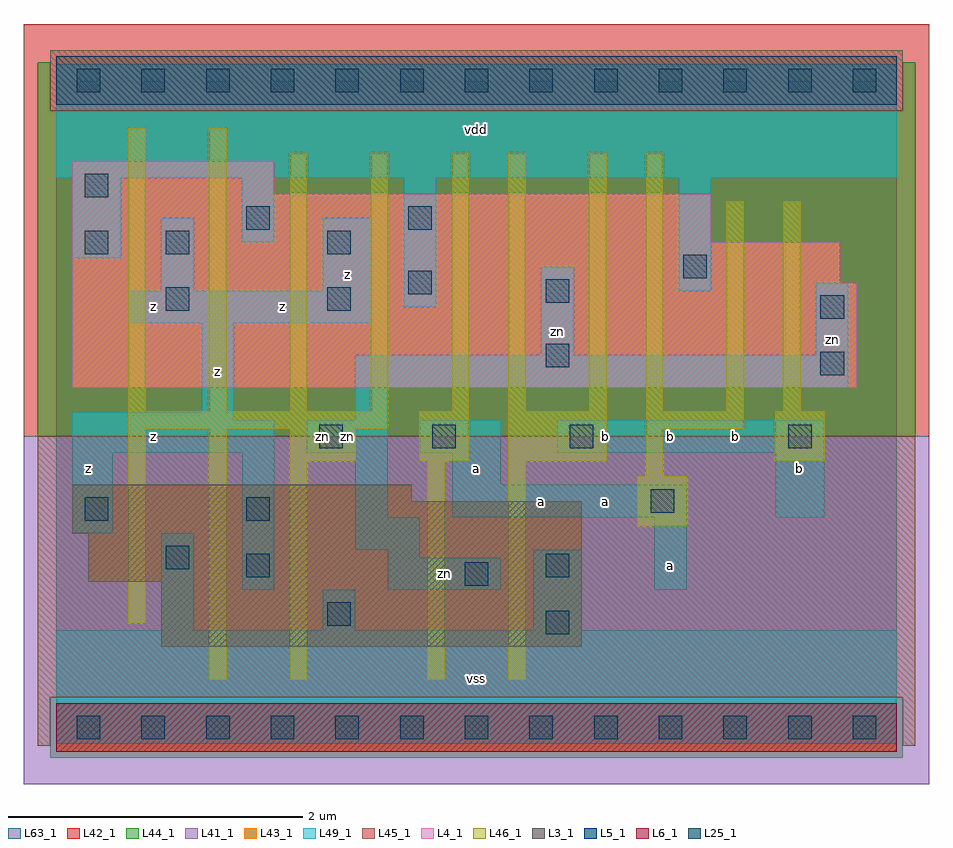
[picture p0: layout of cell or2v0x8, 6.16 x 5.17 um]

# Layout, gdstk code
import gdstk
lib = gdstk.Library(unit=1e-6, precision=1e-09)
def R(c, l, rs):  # rectangles x0, y0, x1, y1
    for r in rs: c.add(gdstk.rectangle(r[:2], r[2:], *l))
def A(c, l, x, y, w, h, nx, ny, dx, dy):  # array of equal rectangles
    R(c, l, [(x+i*dx, y+j*dy, x+i*dx+w, y+j*dy+h) for i in range(nx) for j in range(ny)])
L3_1 = (3, 1)
L4_1 = (4, 1)
L5_1 = (5, 1)
L6_1 = (6, 1)
L25_1 = (25, 1)
L41_1 = (41, 1)
L42_1 = (42, 1)
L43_1 = (43, 1)
L44_1 = (44, 1)
L45_1 = (45, 1)
L46_1 = (46, 1)
L49_1 = (49, 1)
L63_1 = (63, 1)

or2v0x8 = lib.new_cell('or2v0x8')
R(or2v0x8, L3_1, [(0.715,0.55,3.575,0.99), (0.22,0.99,3.575,1.32), (0.11,1.32,3.575,1.54), (0.11,1.54,2.42,1.65)])
R(or2v0x8, L4_1, [(0.11,2.31,5.445,3.025), (0.11,3.025,5.335,3.3), (0.11,3.3,4.455,3.63), (0.11,3.63,1.485,3.85)])
R(or2v0x8, L5_1, [(0,4.235,5.72,4.565)])
R(or2v0x8, L6_1, [(0,-0.165,5.72,0.165)])
A(or2v0x8, L25_1, 0.14, -0.08, 0.16, 0.16, 13, 2, 0.44, 4.4)
R(or2v0x8, L25_1, [(3.33,0.635,3.49,0.795), (1.845,0.69,2.005,0.85), (2.78,0.965,2.94,1.125), (1.295,1.02,1.455,1.18), (3.33,1.02,3.49,1.18), (0.745,1.075,0.905,1.235), (0.195,1.405,0.355,1.565), (1.295,1.405,1.455,1.565), (4.045,1.46,4.205,1.62), (1.79,1.9,1.95,2.06), (2.56,1.9,2.72,2.06), (3.495,1.9,3.655,2.06), (4.98,1.9,5.14,2.06), (5.2,2.395,5.36,2.555), (3.33,2.45,3.49,2.61), (5.2,2.78,5.36,2.94), (0.745,2.835,0.905,2.995), (1.845,2.835,2.005,2.995), (3.33,2.89,3.49,3.05), (2.395,2.945,2.555,3.105), (4.265,3.055,4.425,3.215), (0.195,3.22,0.355,3.38), (0.745,3.22,0.905,3.38), (1.845,3.22,2.005,3.38), (1.295,3.385,1.455,3.545), (2.395,3.385,2.555,3.545), (0.195,3.605,0.355,3.765)])
R(or2v0x8, L41_1, [(-0.22,-0.385,5.94,1.98)])
R(or2v0x8, L42_1, [(-0.22,1.98,5.94,4.785)])
R(or2v0x8, L43_1, [(0,-0.165,5.72,0.165), (0.715,0.55,3.575,0.99), (0.22,0.99,3.575,1.32), (0.11,1.32,3.575,1.54), (0.11,1.54,2.42,1.65), (0.11,2.31,5.445,3.025), (0.11,3.025,5.335,3.3), (0.11,3.3,4.455,3.63), (0.11,3.63,1.485,3.85), (0,4.235,5.72,4.565)])
R(or2v0x8, L44_1, [(-0.04,-0.205,5.76,0.205), (-0.125,1.98,5.845,4.195), (-0.125,4.195,-0.04,4.525), (5.76,4.195,5.845,4.525)])
R(or2v0x8, L45_1, [(-0.125,-0.125,-0.04,0.205), (5.76,-0.125,5.845,0.205), (-0.125,0.205,5.845,1.98), (-0.04,4.195,5.76,4.605)])
A(or2v0x8, L46_1, 1.59, 2.15, 0.12, 1.76, 3, 1, 0.55, 0)
R(or2v0x8, L46_1, [(1.04,0.325,1.16,2.03), (1.59,0.325,1.71,1.81), (2.525,0.325,2.645,1.81), (3.075,0.325,3.195,1.81), (0.49,0.71,0.61,2.03), (3.955,1.37,4.295,1.71), (4.01,1.71,4.13,2.03), (1.59,1.81,2.04,2.03), (2.47,1.81,2.81,2.15), (3.075,1.81,3.745,2.15), (4.89,1.81,5.23,2.15), (0.49,2.03,2.26,2.15), (4.01,2.03,4.68,2.15), (0.49,2.15,0.61,4.075), (1.04,2.15,1.16,4.075), (3.075,2.15,3.195,3.91), (3.625,2.15,3.745,3.91), (4.01,2.15,4.13,3.91), (4.56,2.15,4.68,3.58), (4.945,2.15,5.065,3.58)])
R(or2v0x8, L49_1, [(0,-0.11,5.72,0.66), (0.715,0.66,0.935,1.32), (1.815,0.66,2.035,0.935), (3.245,0.66,3.575,1.21), (1.265,0.935,1.485,1.87), (2.255,0.935,3.025,1.155), (4.07,0.935,4.29,1.43), (2.255,1.155,2.475,1.21), (2.035,1.21,2.475,1.43), (0.11,1.32,0.385,1.87), (2.035,1.43,2.255,1.87), (2.695,1.43,4.29,1.65), (4.895,1.43,5.225,1.87), (2.695,1.65,3.025,1.87), (0.11,1.87,1.485,2.09), (1.705,1.87,2.255,2.09), (2.475,1.87,3.025,2.09), (3.41,1.87,5.225,2.09), (0.11,2.09,1.21,2.145), (2.035,2.09,2.255,2.31), (0.99,2.145,1.21,2.75), (2.035,2.31,5.39,2.53), (3.3,2.53,3.52,3.135), (5.17,2.53,5.39,3.025), (0.495,2.75,2.145,2.97), (2.365,2.86,2.585,3.74), (0.715,2.97,0.935,3.465), (1.815,2.97,2.145,3.465), (4.235,2.97,4.455,3.74), (0.11,3.19,0.44,3.74), (1.265,3.3,1.485,3.74), (0,3.74,5.72,4.51)])
R(or2v0x8, L63_1, [(0,0,5.72,4.4)])
or2v0x8.add(gdstk.Label('zn', (1.815,1.98), layer=49, texttype=1))
or2v0x8.add(gdstk.Label('z', (0.22,1.76), layer=49, texttype=1))
or2v0x8.add(gdstk.Label('z', (0.66,1.98), layer=49, texttype=1))
or2v0x8.add(gdstk.Label('z', (0.66,2.86), layer=49, texttype=1))
or2v0x8.add(gdstk.Label('z', (1.1,2.42), layer=49, texttype=1))
or2v0x8.add(gdstk.Label('z', (1.54,2.86), layer=49, texttype=1))
or2v0x8.add(gdstk.Label('z', (1.98,3.08), layer=49, texttype=1))
or2v0x8.add(gdstk.Label('vss', (2.86,0.33), layer=49, texttype=1))
or2v0x8.add(gdstk.Label('zn', (2.64,1.045), layer=49, texttype=1))
or2v0x8.add(gdstk.Label('a', (3.3,1.54), layer=49, texttype=1))
or2v0x8.add(gdstk.Label('a', (2.86,1.76), layer=49, texttype=1))
or2v0x8.add(gdstk.Label('zn', (1.98,1.98), layer=49, texttype=1))
or2v0x8.add(gdstk.Label('vdd', (2.86,4.07), layer=49, texttype=1))
or2v0x8.add(gdstk.Label('a', (3.74,1.54), layer=49, texttype=1))
or2v0x8.add(gdstk.Label('a', (4.18,1.1), layer=49, texttype=1))
or2v0x8.add(gdstk.Label('b', (3.74,1.98), layer=49, texttype=1))
or2v0x8.add(gdstk.Label('b', (4.18,1.98), layer=49, texttype=1))
or2v0x8.add(gdstk.Label('zn', (3.41,2.695), layer=49, texttype=1))
or2v0x8.add(gdstk.Label('b', (5.06,1.76), layer=49, texttype=1))
or2v0x8.add(gdstk.Label('b', (4.62,1.98), layer=49, texttype=1))
or2v0x8.add(gdstk.Label('zn', (5.28,2.64), layer=49, texttype=1))

lib.write_gds('or2v0x8.gds')
